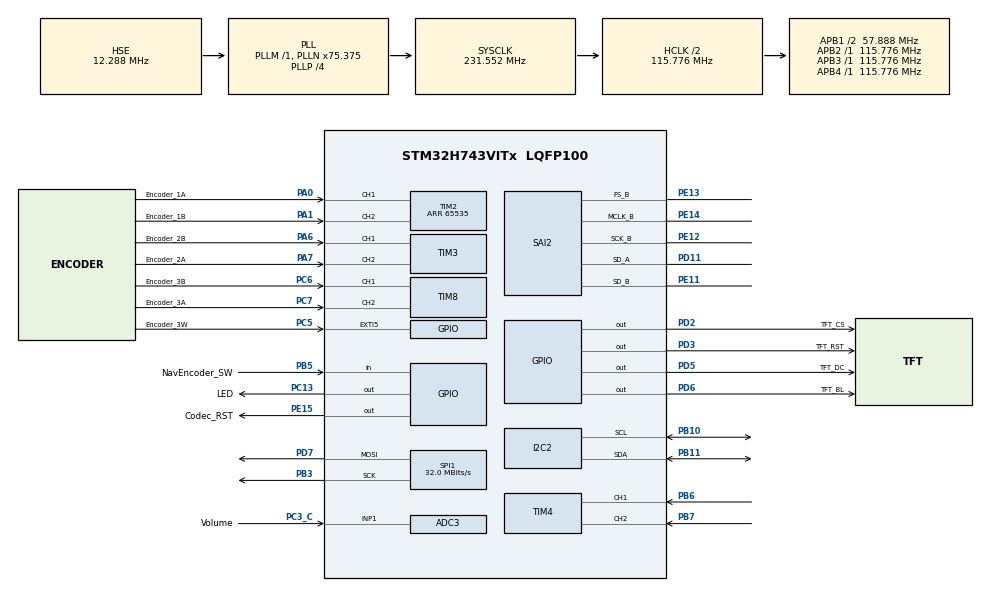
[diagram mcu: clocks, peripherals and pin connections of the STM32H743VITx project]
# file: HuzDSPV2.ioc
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ADC3.Channel-1\#ChannelRegularConversion=ADC_CHANNEL_1
ADC3.ContinuousConvMode=DISABLE
ADC3.ConversionDataManagement=ADC_CONVERSIONDATA_DR
ADC3.DiscontinuousConvMode=DISABLE
ADC3.NbrOfConversionFlag=1
ADC3.OffsetNumber-1\#ChannelRegularConversion=ADC_OFFSET_NONE
ADC3.OffsetSignedSaturation-1\#ChannelRegularConversion=DISABLE
ADC3.Rank-1\#ChannelRegularConversion=1
ADC3.SamplingTime-1\#ChannelRegularConversion=ADC_SAMPLETIME_1CYCLE_5
CORTEX_M7.AccessPermission_S-Cortex_Memory_Protection_Unit_Region1_Settings_S=MPU_REGION_FULL_ACCESS
CORTEX_M7.AccessPermission_S-Cortex_Memory_Protection_Unit_Region2_Settings_S=MPU_REGION_FULL_ACCESS
CORTEX_M7.AccessPermission_S-Cortex_Memory_Protection_Unit_Region3_Settings_S=MPU_REGION_FULL_ACCESS
CORTEX_M7.AccessPermission_S-Cortex_Memory_Protection_Unit_Region4_Settings_S=MPU_REGION_FULL_ACCESS
CORTEX_M7.BaseAddress_S-Cortex_Memory_Protection_Unit_Region1_Settings_S=0x24000000
CORTEX_M7.BaseAddress_S-Cortex_Memory_Protection_Unit_Region2_Settings_S=0x24000000
CORTEX_M7.BaseAddress_S-Cortex_Memory_Protection_Unit_Region3_Settings_S=0x30000000
CORTEX_M7.BaseAddress_S-Cortex_Memory_Protection_Unit_Region4_Settings_S=0x38000000
CORTEX_M7.CPU_DCache=Enabled
CORTEX_M7.CPU_ICache=Enabled
CORTEX_M7.DisableExec_S-Cortex_Memory_Protection_Unit_Region3_Settings_S=MPU_INSTRUCTION_ACCESS_ENABLE
CORTEX_M7.Enable_S-Cortex_Memory_Protection_Unit_Region1_Settings_S=MPU_REGION_ENABLE
CORTEX_M7.Enable_S-Cortex_Memory_Protection_Unit_Region2_Settings_S=MPU_REGION_ENABLE
CORTEX_M7.Enable_S-Cortex_Memory_Protection_Unit_Region3_Settings_S=MPU_REGION_ENABLE
CORTEX_M7.Enable_S-Cortex_Memory_Protection_Unit_Region4_Settings_S=MPU_REGION_ENABLE
CORTEX_M7.IsBufferable_S-Cortex_Memory_Protection_Unit_Region1_Settings_S=MPU_ACCESS_BUFFERABLE
CORTEX_M7.IsBufferable_S-Cortex_Memory_Protection_Unit_Region2_Settings_S=MPU_ACCESS_BUFFERABLE
CORTEX_M7.IsCacheable_S-Cortex_Memory_Protection_Unit_Region1_Settings_S=MPU_ACCESS_CACHEABLE
CORTEX_M7.IsCacheable_S-Cortex_Memory_Protection_Unit_Region2_Settings_S=MPU_ACCESS_CACHEABLE
CORTEX_M7.IsCacheable_S-Cortex_Memory_Protection_Unit_Region3_Settings_S=MPU_ACCESS_NOT_CACHEABLE
CORTEX_M7.IsShareable_S-Cortex_Memory_Protection_Unit_Region2_Settings_S=MPU_ACCESS_NOT_SHAREABLE
CORTEX_M7.IsShareable_S-Cortex_Memory_Protection_Unit_Region3_Settings_S=MPU_ACCESS_SHAREABLE
CORTEX_M7.IsShareable_S-Cortex_Memory_Protection_Unit_Region4_Settings_S=MPU_ACCESS_SHAREABLE
CORTEX_M7.Number_S-Cortex_Memory_Protection_Unit_Region2_Settings_S=MPU_REGION_NUMBER2
CORTEX_M7.Number_S-Cortex_Memory_Protection_Unit_Region3_Settings_S=MPU_REGION_NUMBER3
CORTEX_M7.Number_S-Cortex_Memory_Protection_Unit_Region4_Settings_S=MPU_REGION_NUMBER4
CORTEX_M7.Size_S-Cortex_Memory_Protection_Unit_Region1_Settings_S=MPU_REGION_SIZE_512KB
CORTEX_M7.Size_S-Cortex_Memory_Protection_Unit_Region2_Settings_S=MPU_REGION_SIZE_512KB
CORTEX_M7.Size_S-Cortex_Memory_Protection_Unit_Region3_Settings_S=MPU_REGION_SIZE_256KB
CORTEX_M7.Size_S-Cortex_Memory_Protection_Unit_Region4_Settings_S=MPU_REGION_SIZE_64KB
CORTEX_M7.SubRegionDisable_S-Cortex_Memory_Protection_Unit_Region3_Settings_S=0x0
CORTEX_M7.TypeExtField_S-Cortex_Memory_Protection_Unit_Region1_Settings_S=MPU_TEX_LEVEL1
CORTEX_M7.TypeExtField_S-Cortex_Memory_Protection_Unit_Region3_Settings_S=MPU_TEX_LEVEL0
CORTEX_M7.default_mode_Activation=1
Dma.Request0=SPI1_TX
Dma.Request1=SAI2_B
Dma.Request2=SAI2_A
Dma.SAI2_A.2.Direction=DMA_MEMORY_TO_PERIPH
Dma.SAI2_A.2.EventEnable=DISABLE
Dma.SAI2_A.2.FIFOMode=DMA_FIFOMODE_DISABLE
Dma.SAI2_A.2.Instance=DMA1_Stream2
Dma.SAI2_A.2.MemDataAlignment=DMA_MDATAALIGN_WORD
Dma.SAI2_A.2.MemInc=DMA_MINC_ENABLE
Dma.SAI2_A.2.Mode=DMA_CIRCULAR
Dma.SAI2_A.2.PeriphDataAlignment=DMA_PDATAALIGN_WORD
Dma.SAI2_A.2.PeriphInc=DMA_PINC_DISABLE
Dma.SAI2_A.2.Polarity=HAL_DMAMUX_REQ_GEN_RISING
Dma.SAI2_A.2.Priority=DMA_PRIORITY_VERY_HIGH
Dma.SAI2_A.2.RequestNumber=1
Dma.SAI2_A.2.SignalID=NONE
Dma.SAI2_A.2.SyncEnable=DISABLE
Dma.SAI2_A.2.SyncPolarity=HAL_DMAMUX_SYNC_NO_EVENT
Dma.SAI2_A.2.SyncRequestNumber=1
Dma.SAI2_A.2.SyncSignalID=NONE
Dma.SAI2_B.1.Direction=DMA_PERIPH_TO_MEMORY
Dma.SAI2_B.1.EventEnable=DISABLE
Dma.SAI2_B.1.FIFOMode=DMA_FIFOMODE_DISABLE
Dma.SAI2_B.1.Instance=DMA1_Stream1
Dma.SAI2_B.1.MemDataAlignment=DMA_MDATAALIGN_WORD
Dma.SAI2_B.1.MemInc=DMA_MINC_ENABLE
Dma.SAI2_B.1.Mode=DMA_CIRCULAR
Dma.SAI2_B.1.PeriphDataAlignment=DMA_PDATAALIGN_WORD
Dma.SAI2_B.1.PeriphInc=DMA_PINC_DISABLE
Dma.SAI2_B.1.Polarity=HAL_DMAMUX_REQ_GEN_RISING
Dma.SAI2_B.1.Priority=DMA_PRIORITY_VERY_HIGH
Dma.SAI2_B.1.RequestNumber=1
Dma.SAI2_B.1.SignalID=NONE
Dma.SAI2_B.1.SyncEnable=DISABLE
Dma.SAI2_B.1.SyncPolarity=HAL_DMAMUX_SYNC_NO_EVENT
Dma.SAI2_B.1.SyncRequestNumber=1
Dma.SAI2_B.1.SyncSignalID=NONE
Dma.SPI1_TX.0.Direction=DMA_MEMORY_TO_PERIPH
Dma.SPI1_TX.0.EventEnable=DISABLE
Dma.SPI1_TX.0.FIFOMode=DMA_FIFOMODE_DISABLE
Dma.SPI1_TX.0.Instance=DMA1_Stream0
Dma.SPI1_TX.0.MemDataAlignment=DMA_MDATAALIGN_BYTE
Dma.SPI1_TX.0.MemInc=DMA_MINC_ENABLE
Dma.SPI1_TX.0.Mode=DMA_NORMAL
Dma.SPI1_TX.0.PeriphDataAlignment=DMA_PDATAALIGN_BYTE
Dma.SPI1_TX.0.PeriphInc=DMA_PINC_DISABLE
Dma.SPI1_TX.0.Polarity=HAL_DMAMUX_REQ_GEN_RISING
Dma.SPI1_TX.0.Priority=DMA_PRIORITY_HIGH
Dma.SPI1_TX.0.RequestNumber=1
Dma.SPI1_TX.0.SignalID=NONE
Dma.SPI1_TX.0.SyncEnable=DISABLE
Dma.SPI1_TX.0.SyncPolarity=HAL_DMAMUX_SYNC_NO_EVENT
Dma.SPI1_TX.0.SyncRequestNumber=1
Dma.SPI1_TX.0.SyncSignalID=NONE
FREERTOS.BinarySemaphores01=sem_flush,Dynamic,NULL,Depleted;sem_audio,Dynamic,NULL,Depleted
FREERTOS.Mutexes01=lvgl_mutex,Dynamic,NULL,Available
FREERTOS.Tasks01=InputTask,40,512,StartInputTask,Default,NULL,Dynamic,NULL,NULL;lvglTick,40,512,LVGLTick,Default,NULL,Dynamic,NULL,NULL;lvglTimer,40,4096,LVGLTimer,Default,NULL,Dynamic,NULL,NULL;audioTask,48,2048,StartAudioTask,Default,NULL,Dynamic,NULL,NULL
FREERTOS.configENABLE_FPU=1
FREERTOS.configTOTAL_HEAP_SIZE=307200
FREERTOS.configUSE_NEWLIB_REENTRANT=1
Mcu.Family=STM32H7
Mcu.Name=STM32H743VITx
Mcu.Package=LQFP100
NVIC.DMA1_Stream0_IRQn=true\:5\:0\:false\:false\:true\:true\:false\:true\:true
NVIC.DMA1_Stream1_IRQn=true\:5\:0\:false\:false\:true\:true\:false\:true\:true
NVIC.DMA1_Stream2_IRQn=true\:5\:0\:false\:false\:true\:true\:false\:true\:true
NVIC.EXTI9_5_IRQn=true\:5\:0\:false\:false\:true\:true\:true\:true\:true
NVIC.PriorityGroup=NVIC_PRIORITYGROUP_4
NVIC.SPI1_IRQn=true\:5\:0\:false\:false\:true\:true\:false\:true\:true
NVIC.TIM1_UP_IRQn=true\:15\:0\:false\:false\:true\:false\:false\:true\:true
NVIC.TimeBase=TIM1_UP_IRQn
NVIC.TimeBaseIP=TIM1
PA0.GPIO_Label=Encoder_1A
PA0.Signal=S_TIM2_CH1_ETR
PA1.GPIO_Label=Encoder_1B
PA1.Signal=S_TIM2_CH2
PA13\ (JTMS/SWDIO).Mode=Serial_Wire
PA13\ (JTMS/SWDIO).Signal=DEBUG_JTMS-SWDIO
PA14\ (JTCK/SWCLK).Mode=Serial_Wire
PA14\ (JTCK/SWCLK).Signal=DEBUG_JTCK-SWCLK
PA6.GPIO_Label=Encoder_2B
PA6.Signal=S_TIM3_CH1
PA7.GPIO_Label=Encoder_2A
PA7.Signal=S_TIM3_CH2
PB10.Mode=I2C
PB10.Signal=I2C2_SCL
PB11.Mode=I2C
PB11.Signal=I2C2_SDA
PB3\ (JTDO/TRACESWO).Mode=TX_Only_Simplex_Unidirect_Master
PB3\ (JTDO/TRACESWO).Signal=SPI1_SCK
PB5.GPIO_Label=NavEncoder_SW
PB5.Signal=GPIO_Input
PB6.Signal=S_TIM4_CH1
PB7.Signal=S_TIM4_CH2
PC13.GPIO_Label=LED
PC13.Signal=GPIO_Output
PC3_C.GPIO_Label=Volume
PC3_C.Mode=IN1-Single-Ended
PC3_C.Signal=ADC3_INP1
PC5.GPIO_Label=Encoder_3W
PC5.GPIO_PuPd=GPIO_PULLUP
PC5.Signal=GPXTI5
PC6.GPIO_Label=Encoder_3B
PC6.Signal=S_TIM8_CH1
PC7.GPIO_Label=Encoder_3A
PC7.Signal=S_TIM8_CH2
PD11.Mode=SAI_A_SyncSlave
PD11.Signal=SAI2_SD_A
PD2.GPIO_Label=TFT_CS
PD2.GPIO_Speed=GPIO_SPEED_FREQ_VERY_HIGH
PD2.Signal=GPIO_Output
PD3.GPIO_Label=TFT_RST
PD3.GPIO_Speed=GPIO_SPEED_FREQ_VERY_HIGH
PD3.Signal=GPIO_Output
PD5.GPIO_Label=TFT_DC
PD5.GPIO_Speed=GPIO_SPEED_FREQ_VERY_HIGH
PD5.Signal=GPIO_Output
PD6.GPIO_Label=TFT_BL
PD6.Signal=GPIO_Output
PD7.Mode=TX_Only_Simplex_Unidirect_Master
PD7.Signal=SPI1_MOSI
PE11.Mode=SAI_B_MasterWithClock
PE11.Signal=SAI2_SD_B
PE12.Mode=SAI_B_MasterWithClock
PE12.Signal=SAI2_SCK_B
PE13.Mode=SAI_B_MasterWithClock
PE13.Signal=SAI2_FS_B
PE14.Mode=SAI_B_MasterWithClock
PE14.Signal=SAI2_MCLK_B
PE15.GPIO_Label=Codec_RST
PE15.Signal=GPIO_Output
PH0-OSC_IN\ (PH0).Mode=HSE-External-Oscillator
PH0-OSC_IN\ (PH0).Signal=RCC_OSC_IN
PH1-OSC_OUT\ (PH1).Mode=HSE-External-Oscillator
PH1-OSC_OUT\ (PH1).Signal=RCC_OSC_OUT
ProjectManager.HeapSize=0x200
ProjectManager.StackSize=0x400
ProjectManager.TargetToolchain=STM32CubeIDE
RCC.ADCCLockSelection=RCC_ADCCLKSOURCE_CLKP
RCC.ADCFreq_Value=64000000
RCC.APB1Freq_Value=57888000
RCC.APB2Freq_Value=115776000
RCC.APB3Freq_Value=115776000
RCC.APB4Freq_Value=115776000
RCC.CortexFreq_Value=231552000
RCC.D2PPRE1=RCC_APB1_DIV2
RCC.DIVM1=1
RCC.DIVM2=6
RCC.DIVM3=2
RCC.DIVN1=75
RCC.DIVN3=48
RCC.DIVP1=4
RCC.DIVP3=24
RCC.DIVQ1=4
RCC.DIVR1=4
RCC.HCLKFreq_Value=115776000
RCC.HPRE=RCC_HCLK_DIV2
RCC.HSE_VALUE=12288000
RCC.I2C123CLockSelection=RCC_I2C123CLKSOURCE_HSI
RCC.PLL2FRACN=0
RCC.PLL3FRACN=0
RCC.PLLFRACN=3072
RCC.PLLSourceVirtual=RCC_PLLSOURCE_HSE
RCC.SAI23CLockSelection=RCC_SAI23CLKSOURCE_PLL3
RCC.SPI123CLockSelection=RCC_SPI123CLKSOURCE_CLKP
RCC.SYSCLKFreq_VALUE=231552000
RCC.SYSCLKSource=RCC_SYSCLKSOURCE_PLLCLK
RCC.USBFreq_Value=231552000
SAI2.AudioFrequency-SAI_B_MasterWithClock=SAI_AUDIO_FREQUENCY_48K
SAI2.AudioMode-SAI_A_SyncSlave=SAI_MODESLAVE_TX
SAI2.AudioMode-SAI_B_MasterWithClock=SAI_MODEMASTER_RX
SAI2.BasicDataSize-SAI_A_SyncSlave=SAI_PROTOCOL_DATASIZE_24BIT
SAI2.BasicDataSize-SAI_B_MasterWithClock=SAI_PROTOCOL_DATASIZE_24BIT
SAI2.ErrorAudioFreq-SAI_B_MasterWithClock=0.0 %
SAI2.FIFOThreshold-SAI_A_SyncSlave=SAI_FIFOTHRESHOLD_1QF
SAI2.FIFOThreshold-SAI_B_MasterWithClock=SAI_FIFOTHRESHOLD_1QF
SAI2.InitProtocol-SAI_A_SyncSlave=Enable
SAI2.InitProtocol-SAI_B_MasterWithClock=Enable
SAI2.Instance-SAI_A_SyncSlave=SAI$Index_Block_A
SAI2.Instance-SAI_B_MasterWithClock=SAI$Index_Block_B
SAI2.MClockEnable-SAI_B_MasterWithClock=SAI_MASTERCLOCK_ENABLE
SAI2.OutputDrive-SAI_B_MasterWithClock=SAI_OUTPUTDRIVE_ENABLE
SAI2.RealAudioFreq-SAI_B_MasterWithClock=48.0 KHz
SAI2.VirtualMode-SAI_A_SyncSlave=VM_SLAVE
SAI2.VirtualMode-SAI_B_MasterWithClock=VM_MASTER
SAI2.VirtualProtocol-SAI_A_BASIC=VM_BASIC_PROTOCOL
SAI2.VirtualProtocol-SAI_B_BASIC=VM_BASIC_PROTOCOL
SH.S_TIM2_CH1_ETR.0=TIM2_CH1,Encoder_Interface
SH.S_TIM2_CH2.0=TIM2_CH2,Encoder_Interface
SH.S_TIM3_CH1.0=TIM3_CH1,Encoder_Interface
SH.S_TIM3_CH2.0=TIM3_CH2,Encoder_Interface
SH.S_TIM4_CH1.0=TIM4_CH1,Encoder_Interface
SH.S_TIM4_CH2.0=TIM4_CH2,Encoder_Interface
SH.S_TIM8_CH1.0=TIM8_CH1,Encoder_Interface
SH.S_TIM8_CH2.0=TIM8_CH2,Encoder_Interface
SPI1.BaudRatePrescaler=SPI_BAUDRATEPRESCALER_2
SPI1.CalculateBaudRate=32.0 MBits/s
SPI1.DataSize=SPI_DATASIZE_8BIT
SPI1.Direction=SPI_DIRECTION_2LINES_TXONLY
SPI1.Mode=SPI_MODE_MASTER
SPI1.VirtualType=VM_MASTER
TIM2.Period=65535
VP_FREERTOS_VS_CMSIS_V2.Mode=CMSIS_V2
VP_MEMORYMAP_VS_MEMORYMAP.Mode=CurAppReg
VP_SAI2_VP_$IpInstance_SAIA_SAI_BASIC.Mode=SAI_A_BASIC
VP_SAI2_VP_$IpInstance_SAIB_SAI_BASIC.Mode=SAI_B_BASIC
VP_SYS_VS_tim1.Mode=TIM1
board=custom

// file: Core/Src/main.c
/* USER CODE BEGIN Header */
/**
  ******************************************************************************
  * @file           : main.c
  * @brief          : Main program body
  ******************************************************************************
  * @attention
  *
  * Copyright (c) 2026 STMicroelectronics.
  * All rights reserved.
  *
  * This software is licensed under terms that can be found in the LICENSE file
  * in the root directory of this software component.
  * If no LICENSE file comes with this software, it is provided AS-IS.
  *
  ******************************************************************************
  */
/* USER CODE END Header */
#include "main.h"
#include "FreeRTOS.h"
#include "cmsis_os2.h"

/* USER CODE BEGIN Includes */
#include "ili9488.h"
#include "lvgl.h"
#include "ui.h"
#include "ui_events.h"
#include "tuner.h"
#include "screen.h"
#include "cs4270.h"
#include "AudioPath.h"
#include "task.h"
/* USER CODE END Includes */

/* USER CODE BEGIN PD */
#define DISPLAY_WIDTH  480
#define DISPLAY_HEIGHT 320
#define BUFF_SIZE (DISPLAY_WIDTH * 10)
#define LVGL_BUF_PIXELS  (DISPLAY_WIDTH * 10)
#define RGB666_BUF_BYTES (LVGL_BUF_PIXELS * 3)

#define AUDIO_BUFFER_SIZE 256
/* USER CODE END PD */

ADC_HandleTypeDef hadc3;

I2C_HandleTypeDef hi2c2;

SAI_HandleTypeDef hsai_BlockA2;
SAI_HandleTypeDef hsai_BlockB2;
DMA_HandleTypeDef hdma_sai2_b;
DMA_HandleTypeDef hdma_sai2_a;

SPI_HandleTypeDef hspi1;
DMA_HandleTypeDef hdma_spi1_tx;

TIM_HandleTypeDef htim2;
TIM_HandleTypeDef htim3;
TIM_HandleTypeDef htim4;
TIM_HandleTypeDef htim8;

/* Definitions for InputTask */
osThreadId_t InputTaskHandle;
const osThreadAttr_t InputTask_attributes = {
  .name = "InputTask",
  .stack_size = 512 * 4,
  .priority = (osPriority_t) osPriorityHigh,
};
/* Definitions for lvglTick */
osThreadId_t lvglTickHandle;
const osThreadAttr_t lvglTick_attributes = {
  .name = "lvglTick",
  .stack_size = 512 * 4,
  .priority = (osPriority_t) osPriorityHigh,
};
/* Definitions for lvglTimer */
osThreadId_t lvglTimerHandle;
const osThreadAttr_t lvglTimer_attributes = {
  .name = "lvglTimer",
  .stack_size = 4096 * 4,
  .priority = (osPriority_t) osPriorityHigh,
};
/* Definitions for audioTask */
osThreadId_t audioTaskHandle;
const osThreadAttr_t audioTask_attributes = {
  .name = "audioTask",
  .stack_size = 2048 * 4,
  .priority = (osPriority_t) osPriorityRealtime,
};
/* Definitions for lvgl_mutex */
osMutexId_t lvgl_mutexHandle;
const osMutexAttr_t lvgl_mutex_attributes = {
  .name = "lvgl_mutex"
};
/* Definitions for sem_flush */
osSemaphoreId_t sem_flushHandle;
const osSemaphoreAttr_t sem_flush_attributes = {
  .name = "sem_flush"
};
/* Definitions for sem_audio */
osSemaphoreId_t sem_audioHandle;
const osSemaphoreAttr_t sem_audio_attributes = {
  .name = "sem_audio"
};
/* USER CODE BEGIN PV */
// UI Variables
static lv_color_t buf_1[LVGL_BUF_PIXELS] __attribute__((section(".displaybuffer")));
static lv_color_t buf_2[LVGL_BUF_PIXELS] __attribute__((section(".displaybuffer")));
static uint8_t    rgb666_buf[RGB666_BUF_BYTES] __attribute__((section(".displaybuffer")));

extern lv_group_t *encoder_group;
volatile static int32_t last_encoder_value = 0;
lv_indev_t *encoder_indev = NULL;

// Audio Variables prob refactor
static int32_t adcBuf[AUDIO_BUFFER_SIZE] 		__attribute__ ((section(".audiobuffer")));
static int32_t dacBuf[AUDIO_BUFFER_SIZE] 		__attribute__ ((section(".audiobuffer")));

static volatile int32_t *inBufPtr 		__attribute__ ((section(".audiobuffer")));
static volatile int32_t *outBufPtr 		__attribute__ ((section(".audiobuffer")));

volatile uint8_t processHalfFlag		__attribute__ ((section(".audiobuffer")));

extern AudioChannel_t Channel1;
extern AudioChannel_t Channel2;

volatile float volume = 1.0f;
volatile uint8_t paramSide = 0;
/* USER CODE END PV */

void SystemClock_Config(void);
void PeriphCommonClock_Config(void);
static void MPU_Config(void);
static void MX_GPIO_Init(void);
static void MX_DMA_Init(void);
static void MX_SPI1_Init(void);
static void MX_TIM4_Init(void);
static void MX_SAI2_Init(void);
static void MX_I2C2_Init(void);
static void MX_ADC3_Init(void);
static void MX_TIM2_Init(void);
static void MX_TIM3_Init(void);
static void MX_TIM8_Init(void);
void StartInputTask(void *argument);
void LVGLTick(void *argument);
void LVGLTimer(void *argument);
void StartAudioTask(void *argument);

/* USER CODE BEGIN 0 */

static void my_flush_cb(lv_display_t *disp, const lv_area_t *area, uint8_t *px_map)
{
    uint32_t n_px = lv_area_get_size(area);
    uint16_t *src = (uint16_t *)px_map;
    uint8_t  *dst = rgb666_buf;

    for (uint32_t i = 0; i < n_px; i++)
    {
        uint16_t c = *src++;
        *dst++ = ((c >> 11) & 0x1F) << 3;
        *dst++ = ((c >>  5) & 0x3F) << 2;
        *dst++ = ((c >>  0) & 0x1F) << 3;
    }

    uint32_t  remaining = n_px * 3;
    uint8_t  *ptr       = rgb666_buf;

    setAddrWindow(area->x1, area->y1, area->x2, area->y2);
    DC_DATA();
    CS_A();

    // Blocking for all but final chunk
    while (remaining > 65535)
    {
        HAL_SPI_Transmit(&hspi1, ptr, 65535, HAL_MAX_DELAY);
        ptr       += 65535;
        remaining -= 65535;
    }

    // Final chunk async — callback releases semaphore

    HAL_SPI_Transmit_DMA(&hspi1, ptr, (uint16_t)remaining);
    osSemaphoreAcquire(sem_flushHandle, osWaitForever);

    lv_display_flush_ready(disp);
}

void HAL_SPI_TxCpltCallback(SPI_HandleTypeDef *hspi)
{
    if (hspi == &hspi1)
    {
        CS_D();
        osSemaphoreRelease(sem_flushHandle);
    }
}

static void encoder_read_cb(lv_indev_t *indev, lv_indev_data_t *data)
{
   // Button
   data->state = HAL_GPIO_ReadPin(NavEncoder_SW_GPIO_Port, NavEncoder_SW_Pin) == GPIO_PIN_RESET
                 ? LV_INDEV_STATE_PRESSED : LV_INDEV_STATE_RELEASED;
   // Rotation with wraparound
   int32_t current_val = (int32_t)__HAL_TIM_GET_COUNTER(&htim4);
   int32_t diff = current_val - last_encoder_value;
   if (diff > 32767)  diff -= 65536;
   if (diff < -32767) diff += 65536;
   last_encoder_value = current_val;
   data->enc_diff = (int16_t)diff;
}

void HAL_SAI_RxHalfCpltCallback(SAI_HandleTypeDef *hsai) {

	inBufPtr  = &(adcBuf[0]);
	outBufPtr = &(dacBuf[0]);

	osSemaphoreRelease(sem_audioHandle);

}

void HAL_SAI_RxCpltCallback(SAI_HandleTypeDef *hsai) {

	inBufPtr  = &(adcBuf[AUDIO_BUFFER_SIZE/2]);
	outBufPtr = &(dacBuf[AUDIO_BUFFER_SIZE/2]);

	osSemaphoreRelease(sem_audioHandle);

}

void HAL_GPIO_EXTI_Callback(uint16_t GPIO_Pin)
{
    if(GPIO_Pin == Encoder_3W_Pin)
    {
    	HAL_GPIO_TogglePin(LED_GPIO_Port, LED_Pin);
    	paramSide ^= 1;
    }
}

/* USER CODE END 0 */

int main(void)
{

  /* MPU Configuration--------------------------------------------------------*/
  MPU_Config();

  /* Enable the CPU Cache */

  /* Enable I-Cache---------------------------------------------------------*/
  SCB_EnableICache();

  /* Enable D-Cache---------------------------------------------------------*/
  SCB_EnableDCache();

  /* MCU Configuration--------------------------------------------------------*/

  /* Reset of all peripherals, Initializes the Flash interface and the Systick. */
  HAL_Init();

  /* Configure the system clock */
  SystemClock_Config();

  /* Configure the peripherals common clocks */
  PeriphCommonClock_Config();

  /* Initialize all configured peripherals */
  MX_GPIO_Init();
  MX_DMA_Init();
  MX_SPI1_Init();
  MX_TIM4_Init();
  MX_SAI2_Init();
  MX_I2C2_Init();
  MX_ADC3_Init();
  MX_TIM2_Init();
  MX_TIM3_Init();
  MX_TIM8_Init();
  /* USER CODE BEGIN 2 */
  ILI9488_Init();
  lv_init();

  lv_display_t *disp = lv_display_create(DISPLAY_WIDTH, DISPLAY_HEIGHT);
  lv_display_set_flush_cb(disp, my_flush_cb);
  lv_display_set_buffers(disp, buf_1, buf_2, sizeof(buf_1),
                         LV_DISPLAY_RENDER_MODE_PARTIAL);

  HAL_TIM_Encoder_Start(&htim4, TIM_CHANNEL_ALL);
  encoder_indev = lv_indev_create();
  lv_indev_set_type(encoder_indev, LV_INDEV_TYPE_ENCODER);
  lv_indev_set_read_cb(encoder_indev, encoder_read_cb);

  encoder_group = lv_group_create();
  lv_group_set_default(encoder_group);
  lv_indev_set_group(encoder_indev, encoder_group);

  ui_init();
  /* USER CODE END 2 */

  /* Init scheduler */
  osKernelInitialize();
  /* Create the mutex(es) */
  /* creation of lvgl_mutex */
  lvgl_mutexHandle = osMutexNew(&lvgl_mutex_attributes);

  /* Create the semaphores(s) */
  /* creation of sem_flush */
  sem_flushHandle = osSemaphoreNew(1, 0, &sem_flush_attributes);

  /* creation of sem_audio */
  sem_audioHandle = osSemaphoreNew(1, 0, &sem_audio_attributes);

  /* Create the thread(s) */
  /* creation of InputTask */
  InputTaskHandle = osThreadNew(StartInputTask, NULL, &InputTask_attributes);

  /* creation of lvglTick */
  lvglTickHandle = osThreadNew(LVGLTick, NULL, &lvglTick_attributes);

  /* creation of lvglTimer */
  lvglTimerHandle = osThreadNew(LVGLTimer, NULL, &lvglTimer_attributes);

  /* creation of audioTask */
  audioTaskHandle = osThreadNew(StartAudioTask, NULL, &audioTask_attributes);

  /* Start scheduler */
  osKernelStart();

  /* We should never get here as control is now taken by the scheduler */

  /* Infinite loop */
  while (1)
  {

  }
}

void SystemClock_Config(void)
{
  RCC_OscInitTypeDef RCC_OscInitStruct = {0};
  RCC_ClkInitTypeDef RCC_ClkInitStruct = {0};

  /** Supply configuration update enable
  */
  HAL_PWREx_ConfigSupply(PWR_LDO_SUPPLY);

  /** Configure the main internal regulator output voltage
  */
  __HAL_PWR_VOLTAGESCALING_CONFIG(PWR_REGULATOR_VOLTAGE_SCALE2);

  while(!__HAL_PWR_GET_FLAG(PWR_FLAG_VOSRDY)) {}

  /** Initializes the RCC Oscillators according to the specified parameters
  * in the RCC_OscInitTypeDef structure.
  */
  RCC_OscInitStruct.OscillatorType = RCC_OSCILLATORTYPE_HSI|RCC_OSCILLATORTYPE_HSE;
  RCC_OscInitStruct.HSEState = RCC_HSE_ON;
  RCC_OscInitStruct.HSIState = RCC_HSI_DIV1;
  RCC_OscInitStruct.HSICalibrationValue = RCC_HSICALIBRATION_DEFAULT;
  RCC_OscInitStruct.PLL.PLLState = RCC_PLL_ON;
  RCC_OscInitStruct.PLL.PLLSource = RCC_PLLSOURCE_HSE;
  RCC_OscInitStruct.PLL.PLLM = 1;
  RCC_OscInitStruct.PLL.PLLN = 75;
  RCC_OscInitStruct.PLL.PLLP = 4;
  RCC_OscInitStruct.PLL.PLLQ = 4;
  RCC_OscInitStruct.PLL.PLLR = 4;
  RCC_OscInitStruct.PLL.PLLRGE = RCC_PLL1VCIRANGE_3;
  RCC_OscInitStruct.PLL.PLLVCOSEL = RCC_PLL1VCOWIDE;
  RCC_OscInitStruct.PLL.PLLFRACN = 3072;
  if (HAL_RCC_OscConfig(&RCC_OscInitStruct) != HAL_OK)
  {
    Error_Handler();
  }

  /** Initializes the CPU, AHB and APB buses clocks
  */
  RCC_ClkInitStruct.ClockType = RCC_CLOCKTYPE_HCLK|RCC_CLOCKTYPE_SYSCLK
                              |RCC_CLOCKTYPE_PCLK1|RCC_CLOCKTYPE_PCLK2
                              |RCC_CLOCKTYPE_D3PCLK1|RCC_CLOCKTYPE_D1PCLK1;
  RCC_ClkInitStruct.SYSCLKSource = RCC_SYSCLKSOURCE_PLLCLK;
  RCC_ClkInitStruct.SYSCLKDivider = RCC_SYSCLK_DIV1;
  RCC_ClkInitStruct.AHBCLKDivider = RCC_HCLK_DIV2;
  RCC_ClkInitStruct.APB3CLKDivider = RCC_APB3_DIV1;
  RCC_ClkInitStruct.APB1CLKDivider = RCC_APB1_DIV2;
  RCC_ClkInitStruct.APB2CLKDivider = RCC_APB2_DIV1;
  RCC_ClkInitStruct.APB4CLKDivider = RCC_APB4_DIV1;

  if (HAL_RCC_ClockConfig(&RCC_ClkInitStruct, FLASH_LATENCY_2) != HAL_OK)
  {
    Error_Handler();
  }
}

void PeriphCommonClock_Config(void)
{
  RCC_PeriphCLKInitTypeDef PeriphClkInitStruct = {0};

  /** Initializes the peripherals clock
  */
  PeriphClkInitStruct.PeriphClockSelection = RCC_PERIPHCLK_SAI2|RCC_PERIPHCLK_CKPER;
  PeriphClkInitStruct.PLL3.PLL3M = 2;
  PeriphClkInitStruct.PLL3.PLL3N = 48;
  PeriphClkInitStruct.PLL3.PLL3P = 24;
  PeriphClkInitStruct.PLL3.PLL3Q = 2;
  PeriphClkInitStruct.PLL3.PLL3R = 2;
  PeriphClkInitStruct.PLL3.PLL3RGE = RCC_PLL3VCIRANGE_2;
  PeriphClkInitStruct.PLL3.PLL3VCOSEL = RCC_PLL3VCOWIDE;
  PeriphClkInitStruct.PLL3.PLL3FRACN = 0;
  PeriphClkInitStruct.CkperClockSelection = RCC_CLKPSOURCE_HSI;
  PeriphClkInitStruct.Sai23ClockSelection = RCC_SAI23CLKSOURCE_PLL3;
  if (HAL_RCCEx_PeriphCLKConfig(&PeriphClkInitStruct) != HAL_OK)
  {
    Error_Handler();
  }
}

static void MX_ADC3_Init(void)
{

  ADC_ChannelConfTypeDef sConfig = {0};

  /** Common config
  */
  hadc3.Instance = ADC3;
  hadc3.Init.Resolution = ADC_RESOLUTION_16B;
  hadc3.Init.ScanConvMode = ADC_SCAN_DISABLE;
  hadc3.Init.EOCSelection = ADC_EOC_SINGLE_CONV;
  hadc3.Init.LowPowerAutoWait = DISABLE;
  hadc3.Init.ContinuousConvMode = DISABLE;
  hadc3.Init.NbrOfConversion = 1;
  hadc3.Init.DiscontinuousConvMode = DISABLE;
  hadc3.Init.ExternalTrigConv = ADC_SOFTWARE_START;
  hadc3.Init.ExternalTrigConvEdge = ADC_EXTERNALTRIGCONVEDGE_NONE;
  hadc3.Init.ConversionDataManagement = ADC_CONVERSIONDATA_DR;
  hadc3.Init.Overrun = ADC_OVR_DATA_PRESERVED;
  hadc3.Init.LeftBitShift = ADC_LEFTBITSHIFT_NONE;
  hadc3.Init.OversamplingMode = DISABLE;
  hadc3.Init.Oversampling.Ratio = 1;
  if (HAL_ADC_Init(&hadc3) != HAL_OK)
  {
    Error_Handler();
  }

  /** Configure Regular Channel
  */
  sConfig.Channel = ADC_CHANNEL_1;
  sConfig.Rank = ADC_REGULAR_RANK_1;
  sConfig.SamplingTime = ADC_SAMPLETIME_1CYCLE_5;
  sConfig.SingleDiff = ADC_SINGLE_ENDED;
  sConfig.OffsetNumber = ADC_OFFSET_NONE;
  sConfig.Offset = 0;
  sConfig.OffsetSignedSaturation = DISABLE;
  if (HAL_ADC_ConfigChannel(&hadc3, &sConfig) != HAL_OK)
  {
    Error_Handler();
  }

}

static void MX_I2C2_Init(void)
{

  hi2c2.Instance = I2C2;
  hi2c2.Init.Timing = 0x10707DBC;
  hi2c2.Init.OwnAddress1 = 0;
  hi2c2.Init.AddressingMode = I2C_ADDRESSINGMODE_7BIT;
  hi2c2.Init.DualAddressMode = I2C_DUALADDRESS_DISABLE;
  hi2c2.Init.OwnAddress2 = 0;
  hi2c2.Init.OwnAddress2Masks = I2C_OA2_NOMASK;
  hi2c2.Init.GeneralCallMode = I2C_GENERALCALL_DISABLE;
  hi2c2.Init.NoStretchMode = I2C_NOSTRETCH_DISABLE;
  if (HAL_I2C_Init(&hi2c2) != HAL_OK)
  {
    Error_Handler();
  }

  /** Configure Analogue filter
  */
  if (HAL_I2CEx_ConfigAnalogFilter(&hi2c2, I2C_ANALOGFILTER_ENABLE) != HAL_OK)
  {
    Error_Handler();
  }

  /** Configure Digital filter
  */
  if (HAL_I2CEx_ConfigDigitalFilter(&hi2c2, 0) != HAL_OK)
  {
    Error_Handler();
  }

}

static void MX_SAI2_Init(void)
{

  hsai_BlockA2.Instance = SAI2_Block_A;
  hsai_BlockA2.Init.AudioMode = SAI_MODESLAVE_TX;
  hsai_BlockA2.Init.Synchro = SAI_SYNCHRONOUS;
  hsai_BlockA2.Init.OutputDrive = SAI_OUTPUTDRIVE_DISABLE;
  hsai_BlockA2.Init.MckOverSampling = SAI_MCK_OVERSAMPLING_DISABLE;
  hsai_BlockA2.Init.FIFOThreshold = SAI_FIFOTHRESHOLD_1QF;
  hsai_BlockA2.Init.SynchroExt = SAI_SYNCEXT_DISABLE;
  hsai_BlockA2.Init.MonoStereoMode = SAI_STEREOMODE;
  hsai_BlockA2.Init.CompandingMode = SAI_NOCOMPANDING;
  hsai_BlockA2.Init.TriState = SAI_OUTPUT_NOTRELEASED;
  if (HAL_SAI_InitProtocol(&hsai_BlockA2, SAI_I2S_STANDARD, SAI_PROTOCOL_DATASIZE_24BIT, 2) != HAL_OK)
  {
    Error_Handler();
  }
  hsai_BlockB2.Instance = SAI2_Block_B;
  hsai_BlockB2.Init.AudioMode = SAI_MODEMASTER_RX;
  hsai_BlockB2.Init.Synchro = SAI_ASYNCHRONOUS;
  hsai_BlockB2.Init.OutputDrive = SAI_OUTPUTDRIVE_ENABLE;
  hsai_BlockB2.Init.NoDivider = SAI_MCK_OVERSAMPLING_DISABLE;
  hsai_BlockB2.Init.MckOverSampling = SAI_MCK_OVERSAMPLING_DISABLE;
  hsai_BlockB2.Init.FIFOThreshold = SAI_FIFOTHRESHOLD_1QF;
  hsai_BlockB2.Init.AudioFrequency = SAI_AUDIO_FREQUENCY_48K;
  hsai_BlockB2.Init.SynchroExt = SAI_SYNCEXT_DISABLE;
  hsai_BlockB2.Init.MonoStereoMode = SAI_STEREOMODE;
  hsai_BlockB2.Init.CompandingMode = SAI_NOCOMPANDING;
  if (HAL_SAI_InitProtocol(&hsai_BlockB2, SAI_I2S_STANDARD, SAI_PROTOCOL_DATASIZE_24BIT, 2) != HAL_OK)
  {
    Error_Handler();
  }

}

static void MX_SPI1_Init(void)
{

  /* SPI1 parameter configuration*/
  hspi1.Instance = SPI1;
  hspi1.Init.Mode = SPI_MODE_MASTER;
  hspi1.Init.Direction = SPI_DIRECTION_2LINES_TXONLY;
  hspi1.Init.DataSize = SPI_DATASIZE_8BIT;
  hspi1.Init.CLKPolarity = SPI_POLARITY_LOW;
  hspi1.Init.CLKPhase = SPI_PHASE_1EDGE;
  hspi1.Init.NSS = SPI_NSS_SOFT;
  hspi1.Init.BaudRatePrescaler = SPI_BAUDRATEPRESCALER_2;
  hspi1.Init.FirstBit = SPI_FIRSTBIT_MSB;
  hspi1.Init.TIMode = SPI_TIMODE_DISABLE;
  hspi1.Init.CRCCalculation = SPI_CRCCALCULATION_DISABLE;
  hspi1.Init.CRCPolynomial = 0x0;
  hspi1.Init.NSSPMode = SPI_NSS_PULSE_ENABLE;
  hspi1.Init.NSSPolarity = SPI_NSS_POLARITY_LOW;
  hspi1.Init.FifoThreshold = SPI_FIFO_THRESHOLD_01DATA;
  hspi1.Init.TxCRCInitializationPattern = SPI_CRC_INITIALIZATION_ALL_ZERO_PATTERN;
  hspi1.Init.RxCRCInitializationPattern = SPI_CRC_INITIALIZATION_ALL_ZERO_PATTERN;
  hspi1.Init.MasterSSIdleness = SPI_MASTER_SS_IDLENESS_00CYCLE;
  hspi1.Init.MasterInterDataIdleness = SPI_MASTER_INTERDATA_IDLENESS_00CYCLE;
  hspi1.Init.MasterReceiverAutoSusp = SPI_MASTER_RX_AUTOSUSP_DISABLE;
  hspi1.Init.MasterKeepIOState = SPI_MASTER_KEEP_IO_STATE_DISABLE;
  hspi1.Init.IOSwap = SPI_IO_SWAP_DISABLE;
  if (HAL_SPI_Init(&hspi1) != HAL_OK)
  {
    Error_Handler();
  }

}

static void MX_TIM2_Init(void)
{

  TIM_Encoder_InitTypeDef sConfig = {0};
  TIM_MasterConfigTypeDef sMasterConfig = {0};

  htim2.Instance = TIM2;
  htim2.Init.Prescaler = 0;
  htim2.Init.CounterMode = TIM_COUNTERMODE_UP;
  htim2.Init.Period = 65535;
  htim2.Init.ClockDivision = TIM_CLOCKDIVISION_DIV1;
  htim2.Init.AutoReloadPreload = TIM_AUTORELOAD_PRELOAD_DISABLE;
  sConfig.EncoderMode = TIM_ENCODERMODE_TI1;
  sConfig.IC1Polarity = TIM_ICPOLARITY_RISING;
  sConfig.IC1Selection = TIM_ICSELECTION_DIRECTTI;
  sConfig.IC1Prescaler = TIM_ICPSC_DIV1;
  sConfig.IC1Filter = 0;
  sConfig.IC2Polarity = TIM_ICPOLARITY_RISING;
  sConfig.IC2Selection = TIM_ICSELECTION_DIRECTTI;
  sConfig.IC2Prescaler = TIM_ICPSC_DIV1;
  sConfig.IC2Filter = 0;
  if (HAL_TIM_Encoder_Init(&htim2, &sConfig) != HAL_OK)
  {
    Error_Handler();
  }
  sMasterConfig.MasterOutputTrigger = TIM_TRGO_RESET;
  sMasterConfig.MasterSlaveMode = TIM_MASTERSLAVEMODE_DISABLE;
  if (HAL_TIMEx_MasterConfigSynchronization(&htim2, &sMasterConfig) != HAL_OK)
  {
    Error_Handler();
  }

}

static void MX_TIM3_Init(void)
{

  TIM_Encoder_InitTypeDef sConfig = {0};
  TIM_MasterConfigTypeDef sMasterConfig = {0};

  htim3.Instance = TIM3;
  htim3.Init.Prescaler = 0;
  htim3.Init.CounterMode = TIM_COUNTERMODE_UP;
  htim3.Init.Period = 65535;
  htim3.Init.ClockDivision = TIM_CLOCKDIVISION_DIV1;
  htim3.Init.AutoReloadPreload = TIM_AUTORELOAD_PRELOAD_DISABLE;
  sConfig.EncoderMode = TIM_ENCODERMODE_TI1;
  sConfig.IC1Polarity = TIM_ICPOLARITY_RISING;
  sConfig.IC1Selection = TIM_ICSELECTION_DIRECTTI;
  sConfig.IC1Prescaler = TIM_ICPSC_DIV1;
  sConfig.IC1Filter = 0;
  sConfig.IC2Polarity = TIM_ICPOLARITY_RISING;
  sConfig.IC2Selection = TIM_ICSELECTION_DIRECTTI;
  sConfig.IC2Prescaler = TIM_ICPSC_DIV1;
  sConfig.IC2Filter = 0;
  if (HAL_TIM_Encoder_Init(&htim3, &sConfig) != HAL_OK)
  {
    Error_Handler();
  }
  sMasterConfig.MasterOutputTrigger = TIM_TRGO_RESET;
  sMasterConfig.MasterSlaveMode = TIM_MASTERSLAVEMODE_DISABLE;
  if (HAL_TIMEx_MasterConfigSynchronization(&htim3, &sMasterConfig) != HAL_OK)
  {
    Error_Handler();
  }

}

static void MX_TIM4_Init(void)
{

  TIM_Encoder_InitTypeDef sConfig = {0};
  TIM_MasterConfigTypeDef sMasterConfig = {0};

  htim4.Instance = TIM4;
  htim4.Init.Prescaler = 0;
  htim4.Init.CounterMode = TIM_COUNTERMODE_UP;
  htim4.Init.Period = 65535;
  htim4.Init.ClockDivision = TIM_CLOCKDIVISION_DIV1;
  htim4.Init.AutoReloadPreload = TIM_AUTORELOAD_PRELOAD_DISABLE;
  sConfig.EncoderMode = TIM_ENCODERMODE_TI1;
  sConfig.IC1Polarity = TIM_ICPOLARITY_RISING;
  sConfig.IC1Selection = TIM_ICSELECTION_DIRECTTI;
  sConfig.IC1Prescaler = TIM_ICPSC_DIV1;
  sConfig.IC1Filter = 0;
  sConfig.IC2Polarity = TIM_ICPOLARITY_RISING;
  sConfig.IC2Selection = TIM_ICSELECTION_DIRECTTI;
  sConfig.IC2Prescaler = TIM_ICPSC_DIV1;
  sConfig.IC2Filter = 0;
  if (HAL_TIM_Encoder_Init(&htim4, &sConfig) != HAL_OK)
  {
    Error_Handler();
  }
  sMasterConfig.MasterOutputTrigger = TIM_TRGO_RESET;
  sMasterConfig.MasterSlaveMode = TIM_MASTERSLAVEMODE_DISABLE;
  if (HAL_TIMEx_MasterConfigSynchronization(&htim4, &sMasterConfig) != HAL_OK)
  {
    Error_Handler();
  }

}

static void MX_TIM8_Init(void)
{

  TIM_Encoder_InitTypeDef sConfig = {0};
  TIM_MasterConfigTypeDef sMasterConfig = {0};

  htim8.Instance = TIM8;
  htim8.Init.Prescaler = 0;
  htim8.Init.CounterMode = TIM_COUNTERMODE_UP;
  htim8.Init.Period = 65535;
  htim8.Init.ClockDivision = TIM_CLOCKDIVISION_DIV1;
  htim8.Init.RepetitionCounter = 0;
  htim8.Init.AutoReloadPreload = TIM_AUTORELOAD_PRELOAD_DISABLE;
  sConfig.EncoderMode = TIM_ENCODERMODE_TI1;
  sConfig.IC1Polarity = TIM_ICPOLARITY_RISING;
  sConfig.IC1Selection = TIM_ICSELECTION_DIRECTTI;
  sConfig.IC1Prescaler = TIM_ICPSC_DIV1;
  sConfig.IC1Filter = 0;
  sConfig.IC2Polarity = TIM_ICPOLARITY_RISING;
  sConfig.IC2Selection = TIM_ICSELECTION_DIRECTTI;
  sConfig.IC2Prescaler = TIM_ICPSC_DIV1;
  sConfig.IC2Filter = 0;
  if (HAL_TIM_Encoder_Init(&htim8, &sConfig) != HAL_OK)
  {
    Error_Handler();
  }
  sMasterConfig.MasterOutputTrigger = TIM_TRGO_RESET;
  sMasterConfig.MasterOutputTrigger2 = TIM_TRGO2_RESET;
  sMasterConfig.MasterSlaveMode = TIM_MASTERSLAVEMODE_DISABLE;
  if (HAL_TIMEx_MasterConfigSynchronization(&htim8, &sMasterConfig) != HAL_OK)
  {
    Error_Handler();
  }

}

static void MX_DMA_Init(void)
{

  /* DMA controller clock enable */
  __HAL_RCC_DMA1_CLK_ENABLE();

  /* DMA interrupt init */
  /* DMA1_Stream0_IRQn interrupt configuration */
  HAL_NVIC_SetPriority(DMA1_Stream0_IRQn, 5, 0);
  HAL_NVIC_EnableIRQ(DMA1_Stream0_IRQn);
  /* DMA1_Stream1_IRQn interrupt configuration */
  HAL_NVIC_SetPriority(DMA1_Stream1_IRQn, 5, 0);
  HAL_NVIC_EnableIRQ(DMA1_Stream1_IRQn);
  /* DMA1_Stream2_IRQn interrupt configuration */
  HAL_NVIC_SetPriority(DMA1_Stream2_IRQn, 5, 0);
  HAL_NVIC_EnableIRQ(DMA1_Stream2_IRQn);

}

static void MX_GPIO_Init(void)
{
  GPIO_InitTypeDef GPIO_InitStruct = {0};

  /* GPIO Ports Clock Enable */
  __HAL_RCC_GPIOC_CLK_ENABLE();
  __HAL_RCC_GPIOH_CLK_ENABLE();
  __HAL_RCC_GPIOA_CLK_ENABLE();
  __HAL_RCC_GPIOE_CLK_ENABLE();
  __HAL_RCC_GPIOB_CLK_ENABLE();
  __HAL_RCC_GPIOD_CLK_ENABLE();

  /*Configure GPIO pin Output Level */
  HAL_GPIO_WritePin(LED_GPIO_Port, LED_Pin, GPIO_PIN_RESET);

  /*Configure GPIO pin Output Level */
  HAL_GPIO_WritePin(Codec_RST_GPIO_Port, Codec_RST_Pin, GPIO_PIN_RESET);

  /*Configure GPIO pin Output Level */
  HAL_GPIO_WritePin(GPIOD, TFT_CS_Pin|TFT_RST_Pin|TFT_DC_Pin|TFT_BL_Pin, GPIO_PIN_RESET);

  /*Configure GPIO pin : LED_Pin */
  GPIO_InitStruct.Pin = LED_Pin;
  GPIO_InitStruct.Mode = GPIO_MODE_OUTPUT_PP;
  GPIO_InitStruct.Pull = GPIO_NOPULL;
  GPIO_InitStruct.Speed = GPIO_SPEED_FREQ_LOW;
  HAL_GPIO_Init(LED_GPIO_Port, &GPIO_InitStruct);

  /*Configure GPIO pin : Encoder_3W_Pin */
  GPIO_InitStruct.Pin = Encoder_3W_Pin;
  GPIO_InitStruct.Mode = GPIO_MODE_IT_RISING;
  GPIO_InitStruct.Pull = GPIO_PULLUP;
  HAL_GPIO_Init(Encoder_3W_GPIO_Port, &GPIO_InitStruct);

  /*Configure GPIO pin : Codec_RST_Pin */
  GPIO_InitStruct.Pin = Codec_RST_Pin;
  GPIO_InitStruct.Mode = GPIO_MODE_OUTPUT_PP;
  GPIO_InitStruct.Pull = GPIO_NOPULL;
  GPIO_InitStruct.Speed = GPIO_SPEED_FREQ_LOW;
  HAL_GPIO_Init(Codec_RST_GPIO_Port, &GPIO_InitStruct);

  /*Configure GPIO pins : TFT_CS_Pin TFT_RST_Pin TFT_DC_Pin */
  GPIO_InitStruct.Pin = TFT_CS_Pin|TFT_RST_Pin|TFT_DC_Pin;
  GPIO_InitStruct.Mode = GPIO_MODE_OUTPUT_PP;
  GPIO_InitStruct.Pull = GPIO_NOPULL;
  GPIO_InitStruct.Speed = GPIO_SPEED_FREQ_VERY_HIGH;
  HAL_GPIO_Init(GPIOD, &GPIO_InitStruct);

  /*Configure GPIO pin : TFT_BL_Pin */
  GPIO_InitStruct.Pin = TFT_BL_Pin;
  GPIO_InitStruct.Mode = GPIO_MODE_OUTPUT_PP;
  GPIO_InitStruct.Pull = GPIO_NOPULL;
  GPIO_InitStruct.Speed = GPIO_SPEED_FREQ_LOW;
  HAL_GPIO_Init(TFT_BL_GPIO_Port, &GPIO_InitStruct);

  /*Configure GPIO pin : NavEncoder_SW_Pin */
  GPIO_InitStruct.Pin = NavEncoder_SW_Pin;
  GPIO_InitStruct.Mode = GPIO_MODE_INPUT;
  GPIO_InitStruct.Pull = GPIO_NOPULL;
  HAL_GPIO_Init(NavEncoder_SW_GPIO_Port, &GPIO_InitStruct);

  /* EXTI interrupt init*/
  HAL_NVIC_SetPriority(Encoder_3W_EXTI_IRQn, 5, 0);
  HAL_NVIC_EnableIRQ(Encoder_3W_EXTI_IRQn);

}

void StartInputTask(void *argument)
{
  /* USER CODE BEGIN 5 */
	HAL_GPIO_TogglePin(LED_GPIO_Port, LED_Pin);
	HAL_TIM_Encoder_Start(&htim2, TIM_CHANNEL_ALL);
	HAL_TIM_Encoder_Start(&htim3, TIM_CHANNEL_ALL);
	HAL_TIM_Encoder_Start(&htim8, TIM_CHANNEL_ALL);

	static uint32_t lastEnc1 = 0, lastEnc2 = 0, lastEnc3 = 0;
  /* Infinite loop */
  for(;;)
  {
      osDelay(pdMS_TO_TICKS(200));

      // Volume Pot
      uint32_t raw = 0;
      HAL_ADC_Start(&hadc3);
      if (HAL_ADC_PollForConversion(&hadc3, 10) == HAL_OK) {
          raw = HAL_ADC_GetValue(&hadc3);
      }
      HAL_ADC_Stop(&hadc3);
      int32_t volume_percent = (((65535 - raw) * 100) >> 16) + 1;
      volume = (65535 - raw) / 65535.0f; // for 0-1 audio scaling

      // Parameter Encoders
      uint32_t enc1 = __HAL_TIM_GET_COUNTER(&htim8);
      uint32_t enc2 = __HAL_TIM_GET_COUNTER(&htim3);
      uint32_t enc3 = __HAL_TIM_GET_COUNTER(&htim2);

      int32_t delta1 = (int16_t)(enc1 - lastEnc1);
      int32_t delta2 = (int16_t)(enc2 - lastEnc2);
      int32_t delta3 = (int16_t)(enc3 - lastEnc3);

      lastEnc1 = enc1; lastEnc2 = enc2; lastEnc3 = enc3;

      if (g_display_mgr.activeSlotIdx > 2) offset = 3;
      AudioChannel_t* pChannel = (g_display_mgr.activeSlotIdx < 5) ? &Channel1 : &Channel2;
	  int internal_slot_idx = (g_display_mgr.activeSlotIdx < 5) ? g_display_mgr.activeSlotIdx : g_display_mgr.activeSlotIdx - 5;

	  // keep this small so other lvgl tasks dont get blocked for a long time
	  osMutexAcquire(lvgl_mutexHandle, osWaitForever);

	  lv_arc_set_value(ui_VolumeIndicator, volume_percent);

	  if (lv_scr_act() == ui_Pedal) {
		  if (paramSide == 0) {
			lv_arc_set_value(ui_Parameter,  lv_arc_get_value(ui_Parameter)  + delta1);
			lv_arc_set_value(ui_Parameter1, lv_arc_get_value(ui_Parameter1) + delta2);
			lv_arc_set_value(ui_Parameter2, lv_arc_get_value(ui_Parameter2) + delta3);

			lv_label_set_text_fmt(ui_ParamValue, "%ld", lv_arc_get_value(ui_Parameter));
			lv_label_set_text_fmt(ui_ParamValue1, "%ld", lv_arc_get_value(ui_Parameter1));
			lv_label_set_text_fmt(ui_ParamValue2, "%ld", lv_arc_get_value(ui_Parameter2));

			pChannel->chain[internal_slot_idx].params[0] = lv_arc_get_value(ui_Parameter);
			pChannel->chain[internal_slot_idx].params[1] = lv_arc_get_value(ui_Parameter1);
			pChannel->chain[internal_slot_idx].params[2] = lv_arc_get_value(ui_Parameter2);

		} else {
			lv_arc_set_value(ui_Parameter3, lv_arc_get_value(ui_Parameter3) + delta1);
			lv_arc_set_value(ui_Parameter4, lv_arc_get_value(ui_Parameter4) + delta2);
			lv_arc_set_value(ui_Parameter5, lv_arc_get_value(ui_Parameter5) + delta3);

			lv_label_set_text_fmt(ui_ParamValue3, "%ld", lv_arc_get_value(ui_Parameter3));
			lv_label_set_text_fmt(ui_ParamValue4, "%ld", lv_arc_get_value(ui_Parameter4));
			lv_label_set_text_fmt(ui_ParamValue5, "%ld", lv_arc_get_value(ui_Parameter5));

			pChannel->chain[internal_slot_idx].params[3] = lv_arc_get_value(ui_Parameter3);
			pChannel->chain[internal_slot_idx].params[4] = lv_arc_get_value(ui_Parameter4);
			pChannel->chain[internal_slot_idx].params[5] = lv_arc_get_value(ui_Parameter5);
		}
	}

    //syncChannelFromDisplay(&Channel1);
    //syncChannelFromDisplay(&Channel2);

    osMutexRelease(lvgl_mutexHandle);
  }
  /* USER CODE END 5 */
}

void LVGLTick(void *argument)
{
  /* USER CODE BEGIN LVGLTick */
  /* Infinite loop */
  for(;;)
  {
      lv_tick_inc(5);
      osDelay(5);
  }
  /* USER CODE END LVGLTick */
}

void LVGLTimer(void *argument)
{
  /* USER CODE BEGIN LVGLTimer */
  /* Infinite loop */
  for(;;)
  {
	  osMutexAcquire(lvgl_mutexHandle, osWaitForever);
	  lv_timer_handler();
	  osMutexRelease(lvgl_mutexHandle);
      osDelay(10);
  }
  /* USER CODE END LVGLTimer */
}

void StartAudioTask(void *argument)
{
  /* USER CODE BEGIN StartAudioTask */
	CS4270_Init();
	audioPathInit(&Channel1, &Channel2);
	HAL_SAI_Transmit_DMA(&hsai_BlockA2, (uint8_t *) dacBuf, AUDIO_BUFFER_SIZE);
	HAL_SAI_Receive_DMA(&hsai_BlockB2, (uint8_t *) adcBuf, AUDIO_BUFFER_SIZE);
  /* Infinite loop */
  for(;;)
  {
	  osSemaphoreAcquire(sem_audioHandle, osWaitForever);

  	static float leftIn		= 0.0f;
  	static float rightIn	= 0.0f;

  	static float leftOut	= 0.0f;
  	static float rightOut	= 0.0f;

  	for (uint16_t sampleIndex = 0; sampleIndex < (AUDIO_BUFFER_SIZE/2) - 1; sampleIndex += 2) {

  		syncChannelFromDisplay(&Channel1);
  		syncChannelFromDisplay(&Channel2);

  		// Extract 24-bits via bit mask
  		inBufPtr[sampleIndex]		&= 0xFFFFFF;
  		inBufPtr[sampleIndex + 1]	&= 0xFFFFFF;

  		if (inBufPtr[sampleIndex] & 0x800000) {
  			inBufPtr[sampleIndex] |= ~0xFFFFFF;
  		}

  		if (inBufPtr[sampleIndex + 1] & 0x800000) {
  			inBufPtr[sampleIndex + 1] |= ~0xFFFFFF;
  		}

  		// Normalise
  		leftIn  = (float) inBufPtr[sampleIndex]     / (float) (0x7FFFFF);
  		rightIn = (float) inBufPtr[sampleIndex + 1] / (float) (0x7FFFFF);

  		// flipped left and right because I made the wire shorter and it doesnt reach the port so its easier and less wasteful to just switch the assignments in software
  		leftOut  = effectsRouter(&Channel2, rightIn) * volume;
  		rightOut = effectsRouter(&Channel1, leftIn) * volume;

  		if (leftOut < -1.0f) {
  			leftOut = -1.0f;

  		} else if (leftOut > 1.0f) {
  			leftOut =  1.0f;
  		}

  		if (rightOut < -1.0f) {
  			rightOut = -1.0f;
  		} else if (rightOut > 1.0f) {
  			rightOut =  1.0f;
  		}

  		// Scale to 24-bit signed integer and set output buffer
  		outBufPtr[sampleIndex]	   = (int32_t) (leftOut  * 0x7FFFFF);
  		outBufPtr[sampleIndex + 1] = (int32_t) (rightOut * 0x7FFFFF);
  	}
  }
  /* USER CODE END StartAudioTask */
}

 /* MPU Configuration */

void MPU_Config(void)
{
  MPU_Region_InitTypeDef MPU_InitStruct = {0};

  /* Disables the MPU */
  HAL_MPU_Disable();

  /** Initializes and configures the Region and the memory to be protected
  */
  MPU_InitStruct.Enable = MPU_REGION_ENABLE;
  MPU_InitStruct.Number = MPU_REGION_NUMBER0;
  MPU_InitStruct.BaseAddress = 0x0;
  MPU_InitStruct.Size = MPU_REGION_SIZE_4GB;
  MPU_InitStruct.SubRegionDisable = 0x87;
  MPU_InitStruct.TypeExtField = MPU_TEX_LEVEL0;
  MPU_InitStruct.AccessPermission = MPU_REGION_NO_ACCESS;
  MPU_InitStruct.DisableExec = MPU_INSTRUCTION_ACCESS_DISABLE;
  MPU_InitStruct.IsShareable = MPU_ACCESS_SHAREABLE;
  MPU_InitStruct.IsCacheable = MPU_ACCESS_NOT_CACHEABLE;
  MPU_InitStruct.IsBufferable = MPU_ACCESS_NOT_BUFFERABLE;

  HAL_MPU_ConfigRegion(&MPU_InitStruct);

  /** Initializes and configures the Region and the memory to be protected
  */
  MPU_InitStruct.Number = MPU_REGION_NUMBER1;
  MPU_InitStruct.BaseAddress = 0x24000000;
  MPU_InitStruct.Size = MPU_REGION_SIZE_512KB;
  MPU_InitStruct.SubRegionDisable = 0x0;
  MPU_InitStruct.TypeExtField = MPU_TEX_LEVEL1;
  MPU_InitStruct.AccessPermission = MPU_REGION_FULL_ACCESS;
  MPU_InitStruct.DisableExec = MPU_INSTRUCTION_ACCESS_ENABLE;
  MPU_InitStruct.IsShareable = MPU_ACCESS_NOT_SHAREABLE;
  MPU_InitStruct.IsCacheable = MPU_ACCESS_CACHEABLE;
  MPU_InitStruct.IsBufferable = MPU_ACCESS_BUFFERABLE;

  HAL_MPU_ConfigRegion(&MPU_InitStruct);

  /** Initializes and configures the Region and the memory to be protected
  */
  MPU_InitStruct.Number = MPU_REGION_NUMBER2;
  MPU_InitStruct.TypeExtField = MPU_TEX_LEVEL0;

  HAL_MPU_ConfigRegion(&MPU_InitStruct);

  /** Initializes and configures the Region and the memory to be protected
  */
  MPU_InitStruct.Number = MPU_REGION_NUMBER3;
  MPU_InitStruct.BaseAddress = 0x30000000;
  MPU_InitStruct.Size = MPU_REGION_SIZE_256KB;
  MPU_InitStruct.IsShareable = MPU_ACCESS_SHAREABLE;
  MPU_InitStruct.IsCacheable = MPU_ACCESS_NOT_CACHEABLE;
  MPU_InitStruct.IsBufferable = MPU_ACCESS_NOT_BUFFERABLE;

  HAL_MPU_ConfigRegion(&MPU_InitStruct);

  /** Initializes and configures the Region and the memory to be protected
  */
  MPU_InitStruct.Number = MPU_REGION_NUMBER4;
  MPU_InitStruct.BaseAddress = 0x38000000;
  MPU_InitStruct.Size = MPU_REGION_SIZE_64KB;

  HAL_MPU_ConfigRegion(&MPU_InitStruct);
  /* Enables the MPU */
  HAL_MPU_Enable(MPU_PRIVILEGED_DEFAULT);

}

void HAL_TIM_PeriodElapsedCallback(TIM_HandleTypeDef *htim)
{
  if (htim->Instance == TIM1)
  {
    HAL_IncTick();
  }
}

void Error_Handler(void)
{
  __disable_irq();
  while (1)
  {
  }
}
